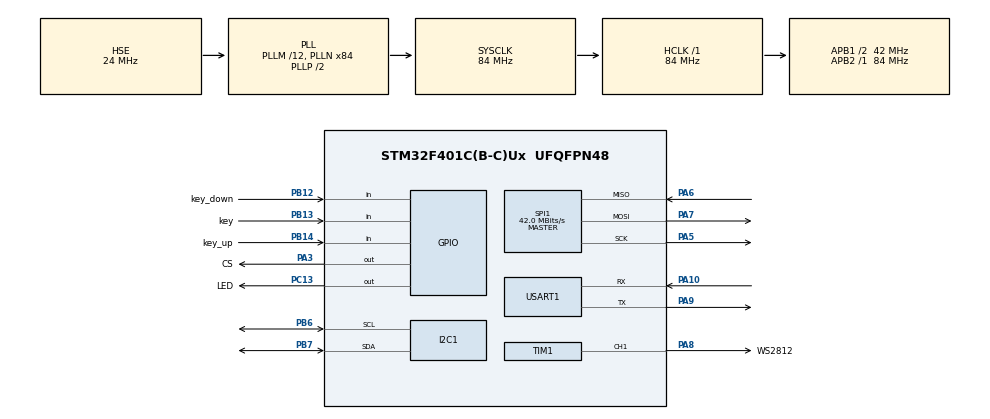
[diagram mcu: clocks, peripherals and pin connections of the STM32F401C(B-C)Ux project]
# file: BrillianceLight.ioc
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Dma.I2C1_RX.1.Direction=DMA_PERIPH_TO_MEMORY
Dma.I2C1_RX.1.FIFOMode=DMA_FIFOMODE_DISABLE
Dma.I2C1_RX.1.Instance=DMA1_Stream0
Dma.I2C1_RX.1.MemDataAlignment=DMA_MDATAALIGN_BYTE
Dma.I2C1_RX.1.MemInc=DMA_MINC_ENABLE
Dma.I2C1_RX.1.Mode=DMA_NORMAL
Dma.I2C1_RX.1.PeriphDataAlignment=DMA_PDATAALIGN_BYTE
Dma.I2C1_RX.1.PeriphInc=DMA_PINC_DISABLE
Dma.I2C1_RX.1.Priority=DMA_PRIORITY_LOW
Dma.I2C1_TX.2.Direction=DMA_MEMORY_TO_PERIPH
Dma.I2C1_TX.2.FIFOMode=DMA_FIFOMODE_DISABLE
Dma.I2C1_TX.2.Instance=DMA1_Stream6
Dma.I2C1_TX.2.MemDataAlignment=DMA_MDATAALIGN_BYTE
Dma.I2C1_TX.2.MemInc=DMA_MINC_ENABLE
Dma.I2C1_TX.2.Mode=DMA_NORMAL
Dma.I2C1_TX.2.PeriphDataAlignment=DMA_PDATAALIGN_BYTE
Dma.I2C1_TX.2.PeriphInc=DMA_PINC_DISABLE
Dma.I2C1_TX.2.Priority=DMA_PRIORITY_LOW
Dma.Request0=TIM1_CH1
Dma.Request1=I2C1_RX
Dma.Request2=I2C1_TX
Dma.TIM1_CH1.0.Direction=DMA_MEMORY_TO_PERIPH
Dma.TIM1_CH1.0.FIFOMode=DMA_FIFOMODE_DISABLE
Dma.TIM1_CH1.0.Instance=DMA2_Stream1
Dma.TIM1_CH1.0.MemDataAlignment=DMA_MDATAALIGN_WORD
Dma.TIM1_CH1.0.MemInc=DMA_MINC_ENABLE
Dma.TIM1_CH1.0.Mode=DMA_CIRCULAR
Dma.TIM1_CH1.0.PeriphDataAlignment=DMA_PDATAALIGN_WORD
Dma.TIM1_CH1.0.PeriphInc=DMA_PINC_DISABLE
Dma.TIM1_CH1.0.Priority=DMA_PRIORITY_LOW
FATFS._CODE_PAGE=936
FATFS._MAX_SS=512
I2C1.I2C_Mode=I2C_Fast
Mcu.Family=STM32F4
Mcu.Name=STM32F401C(B-C)Ux
Mcu.Package=UFQFPN48
NVIC.DMA1_Stream0_IRQn=true\:0\:0\:false\:false\:true\:false\:true\:true
NVIC.DMA1_Stream6_IRQn=true\:0\:0\:false\:false\:true\:false\:true\:true
NVIC.DMA2_Stream1_IRQn=true\:0\:0\:false\:false\:true\:false\:true\:true
NVIC.PriorityGroup=NVIC_PRIORITYGROUP_4
PA10.Mode=Asynchronous
PA10.Signal=USART1_RX
PA13.Mode=Serial_Wire
PA13.Signal=SYS_JTMS-SWDIO
PA14.Mode=Serial_Wire
PA14.Signal=SYS_JTCK-SWCLK
PA3.GPIO_Label=CS
PA3.Signal=GPIO_Output
PA5.Mode=Full_Duplex_Master
PA5.Signal=SPI1_SCK
PA6.Mode=Full_Duplex_Master
PA6.Signal=SPI1_MISO
PA7.Mode=Full_Duplex_Master
PA7.Signal=SPI1_MOSI
PA8.GPIO_Label=WS2812
PA8.Signal=S_TIM1_CH1
PA9.Mode=Asynchronous
PA9.Signal=USART1_TX
PB12.GPIO_Label=key_down
PB12.GPIO_PuPd=GPIO_PULLUP
PB12.Signal=GPIO_Input
PB13.GPIO_Label=key
PB13.GPIO_PuPd=GPIO_PULLUP
PB13.Signal=GPIO_Input
PB14.GPIO_Label=key_up
PB14.GPIO_PuPd=GPIO_PULLUP
PB14.Signal=GPIO_Input
PB6.Mode=I2C
PB6.Signal=I2C1_SCL
PB7.Mode=I2C
PB7.Signal=I2C1_SDA
PC13-ANTI_TAMP.GPIO_Label=LED
PC13-ANTI_TAMP.GPIO_PuPd=GPIO_PULLUP
PC13-ANTI_TAMP.PinState=GPIO_PIN_SET
PC13-ANTI_TAMP.Signal=GPIO_Output
PH0\ -\ OSC_IN.Mode=HSE-External-Oscillator
PH0\ -\ OSC_IN.Signal=RCC_OSC_IN
PH1\ -\ OSC_OUT.Mode=HSE-External-Oscillator
PH1\ -\ OSC_OUT.Signal=RCC_OSC_OUT
ProjectManager.HeapSize=0x200
ProjectManager.StackSize=0x1200
ProjectManager.TargetToolchain=STM32CubeIDE
RCC.48MHZClocksFreq_Value=56000000
RCC.AHBFreq_Value=84000000
RCC.APB1CLKDivider=RCC_HCLK_DIV2
RCC.APB1Freq_Value=42000000
RCC.APB1TimFreq_Value=84000000
RCC.APB2Freq_Value=84000000
RCC.APB2TimFreq_Value=84000000
RCC.CortexFreq_Value=84000000
RCC.HCLKFreq_Value=84000000
RCC.HSE_VALUE=24000000
RCC.HSI_VALUE=16000000
RCC.LSE_VALUE=32768
RCC.PLLM=12
RCC.PLLN=84
RCC.PLLQ=3
RCC.PLLSourceVirtual=RCC_PLLSOURCE_HSE
RCC.SYSCLKFreq_VALUE=84000000
RCC.SYSCLKSource=RCC_SYSCLKSOURCE_PLLCLK
RCC.VCOOutputFreq_Value=168000000
SH.S_TIM1_CH1.0=TIM1_CH1,PWM Generation1 CH1
SPI1.CalculateBaudRate=42.0 MBits/s
SPI1.Direction=SPI_DIRECTION_2LINES
SPI1.Mode=SPI_MODE_MASTER
SPI1.VirtualType=VM_MASTER
TIM1.Channel-PWM\ Generation1\ CH1=TIM_CHANNEL_1
TIM1.Period=104
USART1.VirtualMode=VM_ASYNC
VP_FATFS_VS_Generic.Mode=User_defined
VP_TIM1_VS_ClockSourceINT.Mode=Internal
board=custom

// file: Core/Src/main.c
/* USER CODE BEGIN Header */
/**
  ******************************************************************************
  * @file           : main.c
  * @brief          : Main program body
  ******************************************************************************
  * @attention
  *
  * <h2><center>&copy; Copyright (c) 2022 STMicroelectronics.
  * All rights reserved.</center></h2>
  *
  * This software component is licensed by ST under BSD 3-Clause license,
  * the "License"; You may not use this file except in compliance with the
  * License. You may obtain a copy of the License at:
  *                        opensource.org/licenses/BSD-3-Clause
  *
  ******************************************************************************
  */
/* USER CODE END Header */
#include "main.h"
#include "dma.h"
#include "fatfs.h"
#include "i2c.h"
#include "spi.h"
#include "tim.h"
#include "usart.h"
#include "gpio.h"

/* USER CODE BEGIN Includes */
#include "u8g2.h"
#include "u8g2_Init.h"
#include "stdarg.h"
#include "stdio.h"
#include "spi_sdcard.h"
#include "malloc.h"
#include "WS2812.h"
#include "BMP.h"
#include "pic.h"
/* USER CODE END Includes */

/* USER CODE BEGIN PD */
#define KEY_DOWN    HAL_GPIO_ReadPin(key_down_GPIO_Port,key_down_Pin)
#define KEY         HAL_GPIO_ReadPin(key_GPIO_Port,key_Pin)
#define KEY_UP      HAL_GPIO_ReadPin(key_up_GPIO_Port,key_up_Pin)
/* USER CODE END PD */

/* USER CODE BEGIN PV */
unsigned char filename[16];     //文件�?
u8g2_t u8g2;
uint32_t send_Buf[NUM] = {0};
FATFS *fs[1];
char *fn;   //文件索引
/* USER CODE END PV */
void SystemClock_Config(void);
/* USER CODE BEGIN PFP */
uint8_t key_scan(uint8_t mode);
void BMP_Select();
/* USER CODE END PFP */

/* USER CODE BEGIN 0 */
BMP_24 img_bmp24[IMG_WIDTH];
BITMAPFILEHEADER HEADER;
BMP_INFOHEADER INFO;
/* USER CODE END 0 */

int main(void)
{
  /* USER CODE BEGIN 1 */
    unsigned char work[520] = {0};
    uint8_t key = 0;
    uint32_t sd_size = 0;
    uint8_t res = 0;
  /* USER CODE END 1 */

  /* MCU Configuration--------------------------------------------------------*/

  /* Reset of all peripherals, Initializes the Flash interface and the Systick. */
  HAL_Init();

  /* Configure the system clock */
  SystemClock_Config();

  /* Initialize all configured peripherals */
  MX_GPIO_Init();
  MX_DMA_Init();
  MX_I2C1_Init();
  MX_TIM1_Init();
  MX_USART1_UART_Init();
  MX_SPI1_Init();
  MX_FATFS_Init();
  /* USER CODE BEGIN 2 */
    u8g2_Init(&u8g2);
    LEDCloseAll();
    SD_CS(1);
    sd_init();
    disk_initialize(0);
    my_mem_init(SRAMIN);     /* 为fatfs相关变量申请内存 */

    /* 挂载 SD  */
    if(f_mount(&USERFatFS,"0:",1) == FR_OK)
    {
        HAL_GPIO_WritePin(LED_GPIO_Port,LED_Pin,GPIO_PIN_RESET);    //挂载成功后板�? LED 点亮
        UART_printf(&huart1,"f_mount sucess!!! \r\n");
        f_mkfs("0:",FM_FAT32,0,work,sizeof(work));

        /* 显示文件夹下文件 */
//        scan_files("0:");
//        UART_printf(&huart1,"%s\r\n", fn);
    }
    else
    {
        UART_printf(&huart1,"f_mount error: %d \r\n", retUSER);
        UART_printf(&huart1,"%d \r\n",f_mount(&USERFatFS,"0:",1));
        retUSER = f_mkfs("0:",FS_FAT32,0,work,sizeof(work));
        UART_printf(&huart1,"%d \r\n",f_mount(&USERFatFS,"0:",1));
        UART_printf(&huart1,"mkfs: %d \r\n",retUSER);
    }

    /* SD 卡挂载不成功 LED 闪烁，挂载成功后常亮 */
    while(f_mount(&USERFatFS,"0:",1) != FR_OK)
    {
        HAL_GPIO_WritePin(LED_GPIO_Port,LED_Pin,GPIO_PIN_RESET);
        HAL_Delay(50);
        HAL_GPIO_WritePin(LED_GPIO_Port,LED_Pin,GPIO_PIN_SET);
        HAL_Delay(50);
    }
    HAL_GPIO_WritePin(LED_GPIO_Port,LED_Pin,GPIO_PIN_RESET);

    /* 开机测试 */
//    retUSER = f_open(&USERFile, "1.bmp", FA_READ);
//    if(retUSER)
//        UART_printf(&huart1,"f_open file error : %d \r\n",retUSER);
//    else
//        UART_printf(&huart1,"f_open file sucess!!! \r\n");
//
//    if(ReadShow(&USERFile,&HEADER,&INFO,img_bmp24))
//        UART_printf(&huart1,"Draw finished!!! \r\n");
//    else
//        UART_printf(&huart1,"Draw failed! \r\n");
//
//    retUSER = f_close(&USERFile);
//    if(retUSER)
//        UART_printf(&huart1,"f_close error %d \r\n",retUSER);
//    else
//        UART_printf(&huart1,"Close Succeed! \r\n");

  /* USER CODE END 2 */

  /* Infinite loop */
  /* USER CODE BEGIN WHILE */

  /* 显示 SD 卡容量 */
//    sd_size = sd_get_sector_count();
//    UART_printf(&huart1,"SD size:%d MB\r\n",sd_size>>11);

    Begin_menu(&u8g2);

  while (1)
  {
    /* USER CODE END WHILE */

    /* USER CODE BEGIN 3 */

        key = key_scan(0);
      switch (key)
      {
          case 1:
              Show_BMP(&u8g2);
              break;
          case 3:
              Show_Rainbow(&u8g2);
              break;
          default:
              return 0;
      }
  }
  /* USER CODE END 3 */
}

void SystemClock_Config(void)
{
  RCC_OscInitTypeDef RCC_OscInitStruct = {0};
  RCC_ClkInitTypeDef RCC_ClkInitStruct = {0};

  /** Configure the main internal regulator output voltage
  */
  __HAL_RCC_PWR_CLK_ENABLE();
  __HAL_PWR_VOLTAGESCALING_CONFIG(PWR_REGULATOR_VOLTAGE_SCALE2);
  /** Initializes the RCC Oscillators according to the specified parameters
  * in the RCC_OscInitTypeDef structure.
  */
  RCC_OscInitStruct.OscillatorType = RCC_OSCILLATORTYPE_HSE;
  RCC_OscInitStruct.HSEState = RCC_HSE_ON;
  RCC_OscInitStruct.PLL.PLLState = RCC_PLL_ON;
  RCC_OscInitStruct.PLL.PLLSource = RCC_PLLSOURCE_HSE;
  RCC_OscInitStruct.PLL.PLLM = 12;
  RCC_OscInitStruct.PLL.PLLN = 84;
  RCC_OscInitStruct.PLL.PLLP = RCC_PLLP_DIV2;
  RCC_OscInitStruct.PLL.PLLQ = 3;
  if (HAL_RCC_OscConfig(&RCC_OscInitStruct) != HAL_OK)
  {
    Error_Handler();
  }
  /** Initializes the CPU, AHB and APB buses clocks
  */
  RCC_ClkInitStruct.ClockType = RCC_CLOCKTYPE_HCLK|RCC_CLOCKTYPE_SYSCLK
                              |RCC_CLOCKTYPE_PCLK1|RCC_CLOCKTYPE_PCLK2;
  RCC_ClkInitStruct.SYSCLKSource = RCC_SYSCLKSOURCE_PLLCLK;
  RCC_ClkInitStruct.AHBCLKDivider = RCC_SYSCLK_DIV1;
  RCC_ClkInitStruct.APB1CLKDivider = RCC_HCLK_DIV2;
  RCC_ClkInitStruct.APB2CLKDivider = RCC_HCLK_DIV1;

  if (HAL_RCC_ClockConfig(&RCC_ClkInitStruct, FLASH_LATENCY_2) != HAL_OK)
  {
    Error_Handler();
  }
}

/* USER CODE BEGIN 4 */
uint8_t key_scan(uint8_t mode)
{
    static uint8_t key_up = 1;  /* 按键按松�?标志 */
    uint8_t keyval = 0;

    if (mode) key_up = 1;       /* 支持连按 */

    if (key_up && (KEY_DOWN == 0 || KEY == 0 || KEY_UP == 0))
    {
        HAL_Delay(5);
        key_up = 0;

        if (KEY_DOWN == 0)  keyval = 1;

        if (KEY == 0)       keyval = 2;

        if (KEY_UP == 0)    keyval = 3;
    }
    else if (KEY_DOWN == 1 && KEY == 1 && KEY_UP == 1) /* 没有任何按键按下, 标记按键松开 */
    {
        key_up = 1;
    }

    return keyval;
}

int UART_printf(UART_HandleTypeDef *huart, const char *fmt, ...)
{
    va_list ap;
    va_start(ap, fmt);
    int length;
    char buffer[128];
    length = vsnprintf(buffer, 128, fmt, ap);
    HAL_UART_Transmit(huart,buffer,length,HAL_MAX_DELAY);
    va_end(ap);
    return length;
}

/* USER CODE END 4 */

void Error_Handler(void)
{
  __disable_irq();
  while (1)
  {
  }
}
